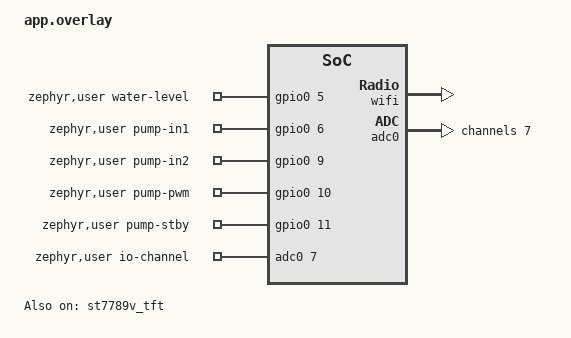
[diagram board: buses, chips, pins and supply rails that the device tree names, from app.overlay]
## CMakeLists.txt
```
cmake_minimum_required(VERSION 3.20.0)
find_package(Zephyr REQUIRED HINTS $ENV{ZEPHYR_BASE})
project(vanningssystem)

target_include_directories(app PRIVATE src)

target_sources(app PRIVATE
    src/main.c

    src/core/app_state.c
    src/core/events.c

    src/sensors/sensors.c
    src/sensors/soil_sensor.c
    src/sensors/water_level.c
    src/sensors/aht20.c

    src/actuators/pump.c

    src/control/watering.c
    src/control/commands.c

    src/display/display.c

    src/network/network.c
    src/network/wifi.c
    src/network/mqtt_client.c
)
```

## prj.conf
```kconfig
# ---------- Generelt ----------
CONFIG_LOG=y
CONFIG_MAIN_STACK_SIZE=8192
CONFIG_HEAP_MEM_POOL_SIZE=32768

# ---------- Maskinvare ----------
CONFIG_GPIO=y
CONFIG_ADC=y
CONFIG_I2C=y

# ---------- Strøm til skjerm og STEMMA QT (GPIO21) ----------
CONFIG_POWER_DOMAIN=y
CONFIG_PM_DEVICE=y
CONFIG_PM_DEVICE_POWER_DOMAIN=y

# ---------- Skjerm (ST7789 på ESP32-S3 TFT) ----------
CONFIG_DISPLAY=y
CONFIG_LVGL=y
CONFIG_LV_Z_MEM_POOL_SIZE=32768
CONFIG_LV_COLOR_DEPTH_16=y
CONFIG_LV_COLOR_16_SWAP=y
CONFIG_LV_FONT_MONTSERRAT_14=y

# ---------- Wi-Fi og nettverk ----------
CONFIG_WIFI=y
CONFIG_NETWORKING=y
CONFIG_NET_L2_ETHERNET=y
CONFIG_NET_L2_WIFI_MGMT=y
CONFIG_NET_IPV4=y
CONFIG_NET_IPV6=n
CONFIG_NET_TCP=y
CONFIG_NET_SOCKETS=y
CONFIG_NET_DHCPV4=y
CONFIG_NET_MGMT=y
CONFIG_NET_MGMT_EVENT=y
CONFIG_NET_MGMT_EVENT_STACK_SIZE=4096

# ---------- MQTT + JSON ----------
CONFIG_MQTT_LIB=y
CONFIG_JSON_LIBRARY=y
```

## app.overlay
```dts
/*
 * Pinnekart for Adafruit ESP32-S3 TFT Feather.
 * Se docs/koblingsskjema.md for full koblingsoversikt.
 *
 * VIKTIG: Analoge sensorer MÅ ligge på ADC1 (GPIO1–10), fordi ADC2
 * ikke kan brukes samtidig med Wi-Fi på ESP32-S3.
 */
#include <zephyr/dt-bindings/gpio/gpio.h>
#include <zephyr/dt-bindings/adc/adc.h>

/ {
	aliases {
		/* I2C-bussen på STEMMA QT-kontakten (SDA=GPIO42, SCL=GPIO41) */
		app-i2c = &i2c0;
	};

	zephyr,user {
		/* Jordfuktighet: A5 = GPIO8 = ADC1 kanal 7 */
		io-channels = <&adc0 7>;

		/* SEN0715 vannivå: D5 = GPIO5. Høy = vann registrert.
		 * Er sensoren aktiv lav, bytt til GPIO_ACTIVE_LOW. */
		water-level-gpios = <&gpio0 5 (GPIO_ACTIVE_HIGH | GPIO_PULL_DOWN)>;

		/* TB6612FNG kanal A */
		pump-in1-gpios  = <&gpio0 6  GPIO_ACTIVE_HIGH>;  /* D6  -> AIN1 */
		pump-in2-gpios  = <&gpio0 9  GPIO_ACTIVE_HIGH>;  /* D9  -> AIN2 */
		pump-pwm-gpios  = <&gpio0 10 GPIO_ACTIVE_HIGH>;  /* D10 -> PWMA */
		pump-stby-gpios = <&gpio0 11 GPIO_ACTIVE_HIGH>;  /* D11 -> STBY */
	};
};

/* Skjermen er av som standard i kortdefinisjonen. Den deler strøm (GPIO21)
 * med STEMMA QT-kontakten, så dette slår også på strømmen til AHT20. */
&st7789v_tft {
	status = "okay";
};

/* Wi-Fi er også av som standard */
&wifi {
	status = "okay";
};

&adc0 {
	status = "okay";
	#address-cells = <1>;
	#size-cells = <0>;

	channel@7 {
		reg = <7>;
		zephyr,gain = "ADC_GAIN_1_4";          /* 11 dB demping: ca. 0–3,1 V */
		zephyr,reference = "ADC_REF_INTERNAL";
		zephyr,vref-mv = <1100>;
		zephyr,acquisition-time = <ADC_ACQ_TIME_DEFAULT>;
		zephyr,resolution = <12>;
	};
};
```

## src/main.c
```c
/*
 * Automatisk vanningssystem – ESP32-S3 TFT + Zephyr RTOS
 *
 * main() starter bare modulene og kjører hovedløkken.
 * All logikk ligger i egne mapper under src/.
 */
#include <zephyr/kernel.h>

#include "config/app_config.h"
#include "core/app_state.h"
#include "sensors/sensors.h"
#include "actuators/pump.h"
#include "control/watering.h"
#include "display/display.h"
#include "network/network.h"

int main(void)
{
	app_state_init();
	pump_init();
	sensors_init();
	watering_init();
	display_init();
	network_start();

	while (1) {
		sensors_update();
		watering_update();
		display_update();
		k_msleep(CONTROL_PERIOD_MS);
	}

	return 0;
}
```
